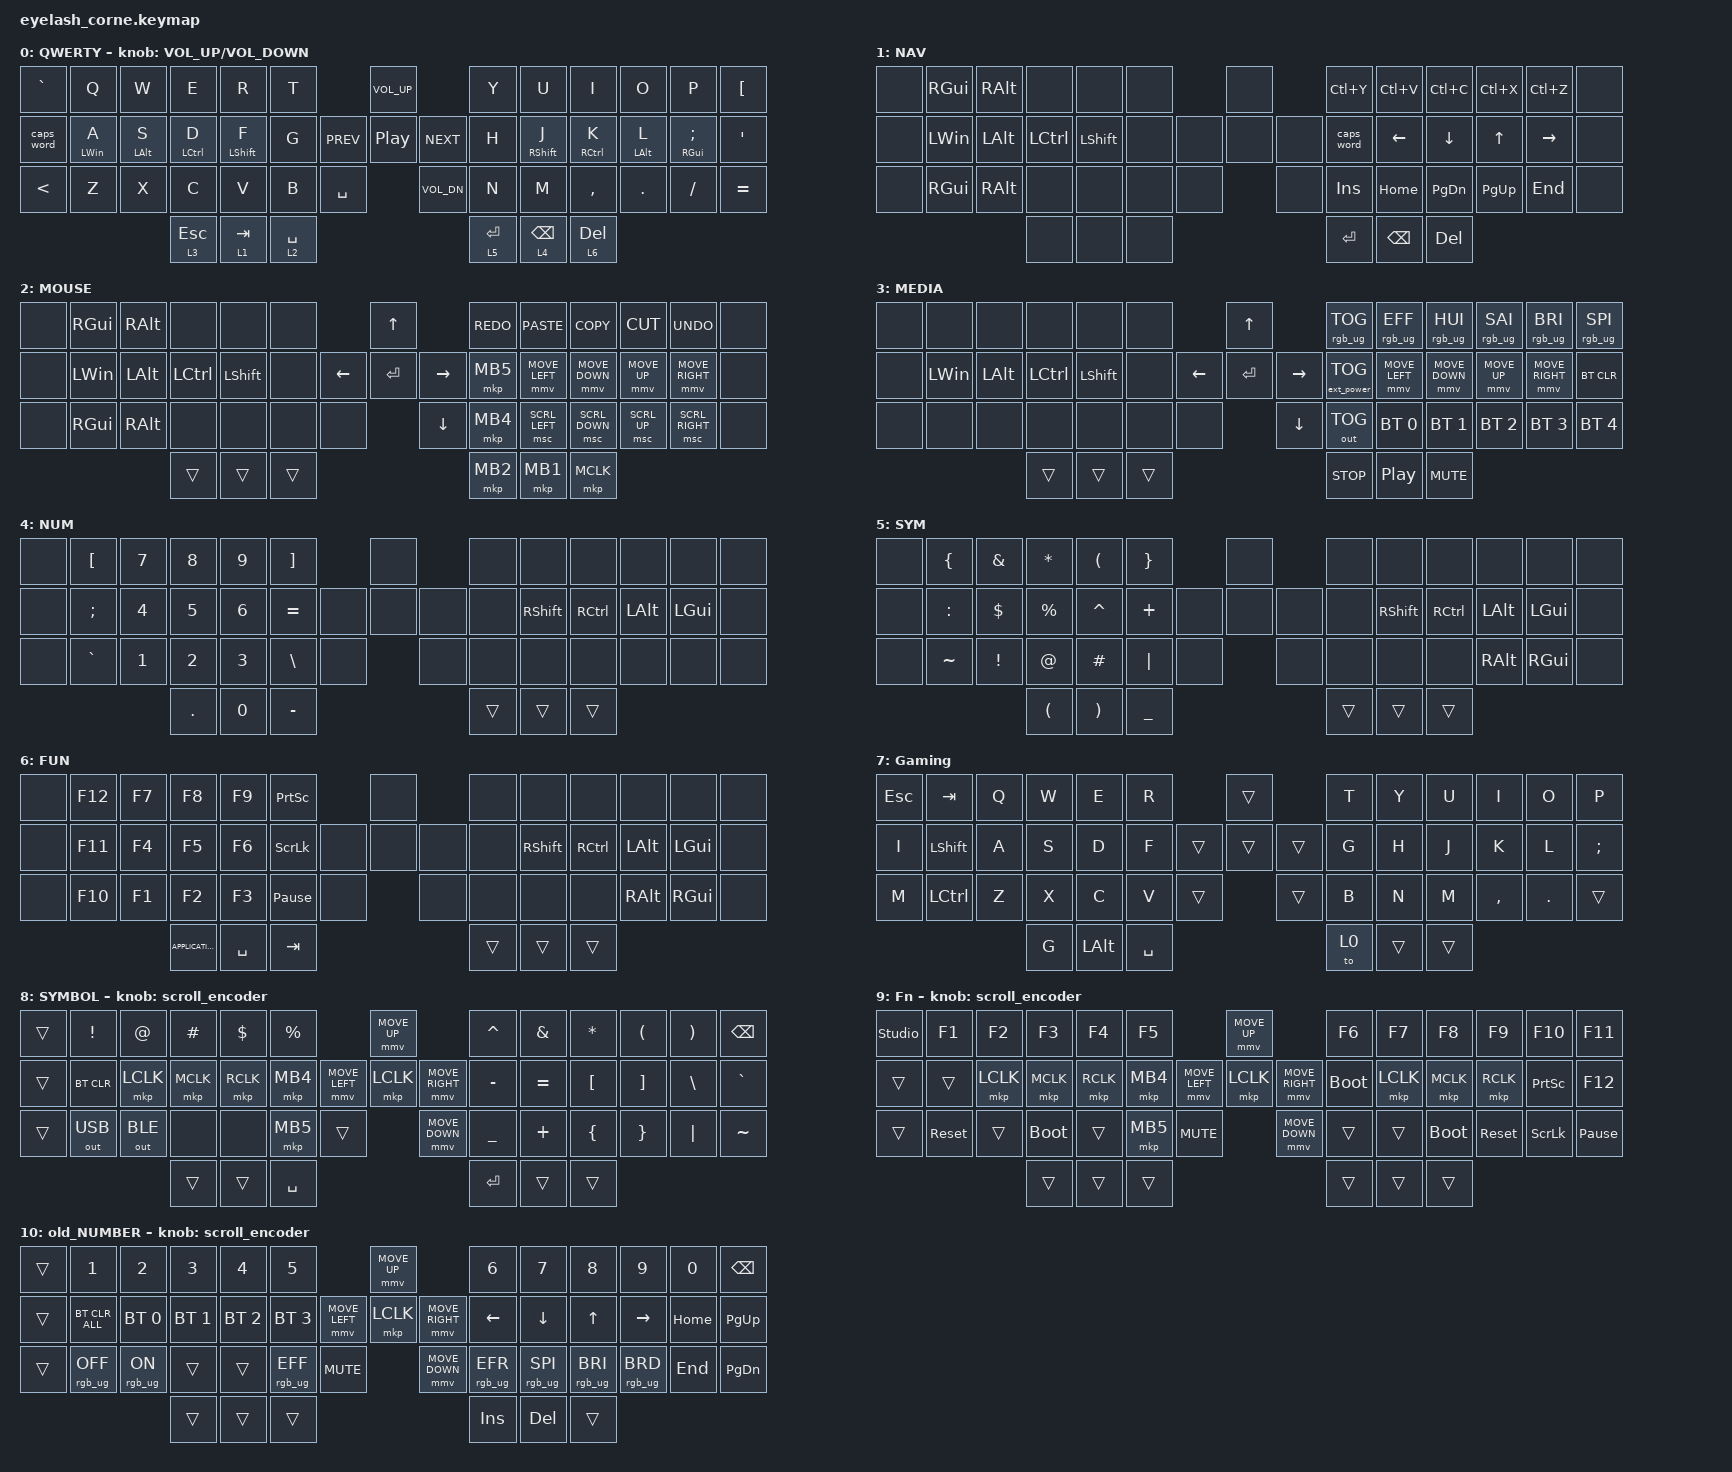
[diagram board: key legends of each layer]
#define ZMK_POINTING_DEFAULT_MOVE_VAL 1200  // 600
#define ZMK_POINTING_DEFAULT_SCRL_VAL 25   // 10

#include <input/processors.dtsi>
#include <zephyr/dt-bindings/input/input-event-codes.h>
#include <behaviors.dtsi>
#include <dt-bindings/zmk/bt.h>
#include <dt-bindings/zmk/ext_power.h>
#include <dt-bindings/zmk/keys.h>
#include <dt-bindings/zmk/outputs.h>
#include <dt-bindings/zmk/pointing.h>
#include <dt-bindings/zmk/rgb.h>

&mmv_input_listener { input-processors = <&zip_xy_scaler 2 1>; };

&msc_input_listener { input-processors = <&zip_scroll_scaler 2 1>; };

&msc {
    acceleration-exponent = <1>;      // 0
    time-to-max-speed-ms = <100>;       // 300
    delay-ms = <0>;                   // 0
};

&mmv {
    time-to-max-speed-ms = <500>;
    acceleration-exponent = <1>;
    trigger-period-ms = <16>;
};

&soft_off { hold-time-ms = <2000>; };

/ {
    behaviors {
        td0: td0 {
            compatible = "zmk,behavior-tap-dance";
            display-name = "Shift/Caps Lock Tap Dance";
            #binding-cells = <0>;
            bindings = <&kp LEFT_SHIFT>, <&kp CAPS>;
        };

        HMShiftR: HMShiftR {
            compatible = "zmk,behavior-hold-tap";
            label = "HMSHIFTR";
            bindings = <&kp>, <&kp>;

            #binding-cells = <2>;
            tapping-term-ms = <200>;
            hold-while-undecided;
            hold-trigger-key-positions = <0 1 2 3 4 5 13 14 15 16 17 18 28 29 30 31 32 33 34 42 43 44>;
            hold-trigger-on-release;
        };

        HMShiftL: HMShiftL {
            compatible = "zmk,behavior-hold-tap";
            label = "HMSHIFTL";
            bindings = <&kp>, <&kp>;

            #binding-cells = <2>;
            tapping-term-ms = <200>;
            hold-while-undecided;
            hold-trigger-on-release;
            hold-trigger-key-positions = <7 8 9 10 11 12 22 23 24 25 26 27 36 37 38 39 40 41 46 47 45>;
        };

        HMR: HMR {
            compatible = "zmk,behavior-hold-tap";
            label = "HMR";
            bindings = <&kp>, <&kp>;

            #binding-cells = <2>;
            tapping-term-ms = <200>;
            hold-trigger-key-positions = <0 1 2 3 4 5 13 14 15 16 17 18 28 29 30 31 32 33 34 42 43 44>;
            hold-trigger-on-release;
            flavor = "tap-preferred";
        };

        HML: HML {
            compatible = "zmk,behavior-hold-tap";
            label = "HML";
            bindings = <&kp>, <&kp>;

            #binding-cells = <2>;
            tapping-term-ms = <200>;
            hold-trigger-on-release;
            hold-trigger-key-positions = <7 8 9 10 11 12 22 23 24 25 26 27 36 37 38 39 40 41 46 47 45>;
            flavor = "tap-preferred";
        };

        BTHoldTap: BTHoldTap {
            compatible = "zmk,behavior-hold-tap";
            label = "BTHOLDTAP";
            bindings = <&bt>, <&bt>;

            #binding-cells = <2>;
            tapping-term-ms = <400>;
        };
    };

    rgb_encoder: rgb_encoder {
        compatible = "zmk,behavior-sensor-rotate";
        #sensor-binding-cells = <0>;
        bindings = <&rgb_ug RGB_BRI>, <&rgb_ug RGB_BRD>;
    };

    scroll_encoder: scroll_encoder {
        compatible = "zmk,behavior-sensor-rotate";
        #sensor-binding-cells = <0>;
        bindings = <&msc SCRL_DOWN>, <&msc SCRL_UP>;

        tap-ms = <100>;
    };

    combos {
        compatible = "zmk,combos";

        softoff {
            bindings = <&soft_off>;
            key-positions = <1 15 29>;
        };

        Gaming {
            bindings = <&to 7>;
            key-positions = <45 46 47>;
        };
    };

    keymap {
        compatible = "zmk,keymap";

        default_layer {
            display-name = "QWERTY";
            bindings = <
&kp GRAVE      &kp Q            &kp W            &kp E         &kp R                   &kp T                                 &kp C_VOLUME_UP               &kp Y        &kp U                    &kp I         &kp O            &kp P                &kp LEFT_BRACKET
&caps_word     &HML LEFT_WIN A  &HML LEFT_ALT S  &HML LCTRL D  &HMShiftL LEFT_SHIFT F  &kp G                     &kp C_PREV  &kp C_PLAY_PAUSE  &kp C_NEXT  &kp H        &HMShiftR RIGHT_SHIFT J  &HMR RCTRL K  &HMR LEFT_ALT L  &HMR RIGHT_GUI SEMI  &kp SQT
&kp LESS_THAN  &kp Z            &kp X            &kp C         &kp V                   &kp B        &kp SPACE                &kp C_VOL_DN                  &kp N        &kp M                    &kp COMMA     &kp DOT          &kp FSLH             &kp EQUAL
                                                 &lt 3 ESCAPE  &lt 1 TAB               &lt 2 SPACE                                                         &lt 5 ENTER  &lt 4 BSPC               &lt 6 DEL
            >;

            sensor-bindings = <&inc_dec_kp C_VOLUME_UP C_VOLUME_DOWN>;
        };

        nav_layer {
            bindings = <
&none  &kp RIGHT_GUI  &kp RIGHT_ALT  &none      &none           &none                  &none         &kp LC(Y)   &kp LC(V)      &kp LC(C)      &kp LC(X)     &kp LC(Z)  &none
&none  &kp LEFT_WIN   &kp LEFT_ALT   &kp LCTRL  &kp LEFT_SHIFT  &none           &none  &none  &none  &caps_word  &kp LEFT       &kp DOWN       &kp UP_ARROW  &kp RIGHT  &none
&none  &kp RIGHT_GUI  &kp RIGHT_ALT  &none      &none           &none  &none           &none         &kp INSERT  &kp HOME       &kp PAGE_DOWN  &kp PAGE_UP   &kp END    &none
                                     &none      &none           &none                                &kp ENTER   &kp BACKSPACE  &kp DEL
            >;

            label = "NAV";
        };

        mouse_layer {
            bindings = <
&none  &kp RIGHT_GUI  &kp RIGHT_ALT  &none      &none           &none                            &kp UP_ARROW             &kp K_REDO  &kp K_PASTE     &kp K_COPY      &kp K_CUT     &kp K_UNDO       &none
&none  &kp LEFT_WIN   &kp LEFT_ALT   &kp LCTRL  &kp LEFT_SHIFT  &none            &kp LEFT_ARROW  &kp ENTER     &kp RIGHT  &mkp MB5    &mmv MOVE_LEFT  &mmv MOVE_DOWN  &mmv MOVE_UP  &mmv MOVE_RIGHT  &none
&none  &kp RIGHT_GUI  &kp RIGHT_ALT  &none      &none           &none   &none                    &kp DOWN                 &mkp MB4    &msc SCRL_LEFT  &msc SCRL_DOWN  &msc SCRL_UP  &msc SCRL_RIGHT  &none
                                     &trans     &trans          &trans                                                    &mkp MB2    &mkp MB1        &mkp MCLK
            >;

            label = "MOUSE";
        };

        media_layer {
            bindings = <
&none  &none         &none         &none      &none           &none                            &kp UP_ARROW             &rgb_ug RGB_TOG    &rgb_ug RGB_EFF   &rgb_ug RGB_HUI  &rgb_ug RGB_SAI  &rgb_ug RGB_BRI  &rgb_ug RGB_SPI
&none  &kp LEFT_WIN  &kp LEFT_ALT  &kp LCTRL  &kp LEFT_SHIFT  &none            &kp LEFT_ARROW  &kp ENTER     &kp RIGHT  &ext_power EP_TOG  &mmv MOVE_LEFT    &mmv MOVE_DOWN   &mmv MOVE_UP     &mmv MOVE_RIGHT  &bt BT_CLR
&none  &none         &none         &none      &none           &none   &none                    &kp DOWN                 &out OUT_TOG       &bt BT_SEL 0      &bt BT_SEL 1     &bt BT_SEL 2     &bt BT_SEL 3     &bt BT_SEL 4
                                   &trans     &trans          &trans                                                    &kp C_STOP         &kp C_PLAY_PAUSE  &kp C_MUTE
            >;

            label = "MEDIA";
        };

        num_layer {
            bindings = <
&none  &kp LEFT_BRACKET  &kp NUMBER_7  &kp NUMBER_8  &kp NUMBER_9  &kp RIGHT_BRACKET                  &none         &none   &none            &none      &none         &none         &none
&none  &kp SEMICOLON     &kp NUMBER_4  &kp NUMBER_5  &kp NUMBER_6  &kp EQUAL                   &none  &none  &none  &none   &kp RIGHT_SHIFT  &kp RCTRL  &kp LEFT_ALT  &kp LEFT_GUI  &none
&none  &kp GRAVE         &kp NUMBER_1  &kp NUMBER_2  &kp NUMBER_3  &kp BACKSLASH      &none           &none         &none   &none            &none      &none         &none         &none
                                       &kp PERIOD    &kp NUMBER_0  &kp MINUS                                        &trans  &trans           &trans
            >;

            label = "NUM";
        };

        sym_layer {
            bindings = <
&none  &kp LEFT_BRACE  &kp AMPERSAND    &kp ASTERISK          &kp LEFT_PARENTHESIS   &kp RIGHT_BRACE                  &none         &none   &none            &none      &none          &none          &none
&none  &kp COLON       &kp DOLLAR       &kp PERCENT           &kp CARET              &kp PLUS                  &none  &none  &none  &none   &kp RIGHT_SHIFT  &kp RCTRL  &kp LEFT_ALT   &kp LEFT_GUI   &none
&none  &kp TILDE       &kp EXCLAMATION  &kp AT_SIGN           &kp HASH               &kp PIPE         &none           &none         &none   &none            &none      &kp RIGHT_ALT  &kp RIGHT_GUI  &none
                                        &kp LEFT_PARENTHESIS  &kp RIGHT_PARENTHESIS  &kp UNDERSCORE                                 &trans  &trans           &trans
            >;

            label = "SYM";
        };

        fun_layer {
            bindings = <
&none  &kp F12  &kp F7  &kp F8             &kp F9     &kp PRINTSCREEN                  &none         &none   &none            &none      &none          &none          &none
&none  &kp F11  &kp F4  &kp F5             &kp F6     &kp SCROLLLOCK            &none  &none  &none  &none   &kp RIGHT_SHIFT  &kp RCTRL  &kp LALT       &kp LEFT_GUI   &none
&none  &kp F10  &kp F1  &kp F2             &kp F3     &kp PAUSE_BREAK  &none           &none         &none   &none            &none      &kp RIGHT_ALT  &kp RIGHT_GUI  &none
                        &kp K_APPLICATION  &kp SPACE  &kp TAB                                        &trans  &trans           &trans
            >;

            label = "FUN";
        };

        Gaming {
            bindings = <
&kp ESC  &kp TAB    &kp Q  &kp W  &kp E     &kp R                        &trans          &kp T  &kp Y   &kp U   &kp I      &kp O    &kp P
&kp I    &kp LSHFT  &kp A  &kp S  &kp D     &kp F                &trans  &trans  &trans  &kp G  &kp H   &kp J   &kp K      &kp L    &kp SEMI
&kp M    &kp LCTRL  &kp Z  &kp X  &kp C     &kp V      &trans            &trans          &kp B  &kp N   &kp M   &kp COMMA  &kp DOT  &trans
                           &kp G  &kp LALT  &kp SPACE                                    &to 0  &trans  &trans
            >;

            label = "Gaming";
        };

        raise_layer {
            display-name = "SYMBOL";
            bindings = <
&trans  &kp EXCL      &kp AT        &kp HASH   &kp DLLR   &kp PRCNT                            &mmv MOVE_UP                     &kp CARET  &kp AMPS   &kp ASTRK  &kp LPAR  &kp RPAR  &kp BSPC
&trans  &bt BT_CLR    &mkp LCLK     &mkp MCLK  &mkp RCLK  &mkp MB4             &mmv MOVE_LEFT  &mkp LCLK       &mmv MOVE_RIGHT  &kp MINUS  &kp EQUAL  &kp LBKT   &kp RBKT  &kp BSLH  &kp GRAVE
&trans  &out OUT_USB  &out OUT_BLE  &none      &none      &mkp MB5   &trans                    &mmv MOVE_DOWN                   &kp UNDER  &kp PLUS   &kp LBRC   &kp RBRC  &kp PIPE  &kp TILDE
                                    &trans     &trans     &kp SPACE                                                             &kp RET    &trans     &trans
            >;

            sensor-bindings = <&scroll_encoder>;
        };

        layer_3 {
            display-name = "Fn";
            bindings = <
&studio_unlock  &kp F1      &kp F2     &kp F3       &kp F4     &kp F5                                  &mmv MOVE_UP                     &kp F6       &kp F7     &kp F8       &kp F9      &kp F10          &kp F11
&trans          &trans      &mkp LCLK  &mkp MCLK    &mkp RCLK  &mkp MB4                &mmv MOVE_LEFT  &mkp LCLK       &mmv MOVE_RIGHT  &bootloader  &mkp LCLK  &mkp MCLK    &mkp RCLK   &kp PRINTSCREEN  &kp F12
&trans          &sys_reset  &trans     &bootloader  &trans     &mkp MB5  &kp C_MUTE                    &mmv MOVE_DOWN                   &trans       &trans     &bootloader  &sys_reset  &kp SCROLLLOCK   &kp PAUSE_BREAK
                                       &trans       &trans     &trans                                                                   &trans       &trans     &trans
            >;

            sensor-bindings = <&scroll_encoder>;
        };

        old_num_layer {
            display-name = "old_NUMBER";
            bindings = <
&trans  &kp N1           &kp N2          &kp N3        &kp N4        &kp N5                                         &mmv MOVE_UP                     &kp N6           &kp N7           &kp N8           &kp N9           &kp N0    &kp BSPC
&trans  &bt BT_CLR_ALL   &bt BT_SEL 0    &bt BT_SEL 1  &bt BT_SEL 2  &bt BT_SEL 3                   &mmv MOVE_LEFT  &mkp LCLK       &mmv MOVE_RIGHT  &kp LEFT         &kp DOWN         &kp UP           &kp RIGHT        &kp HOME  &kp PG_UP
&trans  &rgb_ug RGB_OFF  &rgb_ug RGB_ON  &trans        &trans        &rgb_ug RGB_EFF  &kp C_MUTE                    &mmv MOVE_DOWN                   &rgb_ug RGB_EFR  &rgb_ug RGB_SPI  &rgb_ug RGB_BRI  &rgb_ug RGB_BRD  &kp END   &kp PG_DN
                                         &trans        &trans        &trans                                                                          &kp INS          &kp DEL          &trans
            >;

            sensor-bindings = <&scroll_encoder>;
        };
    };
};
